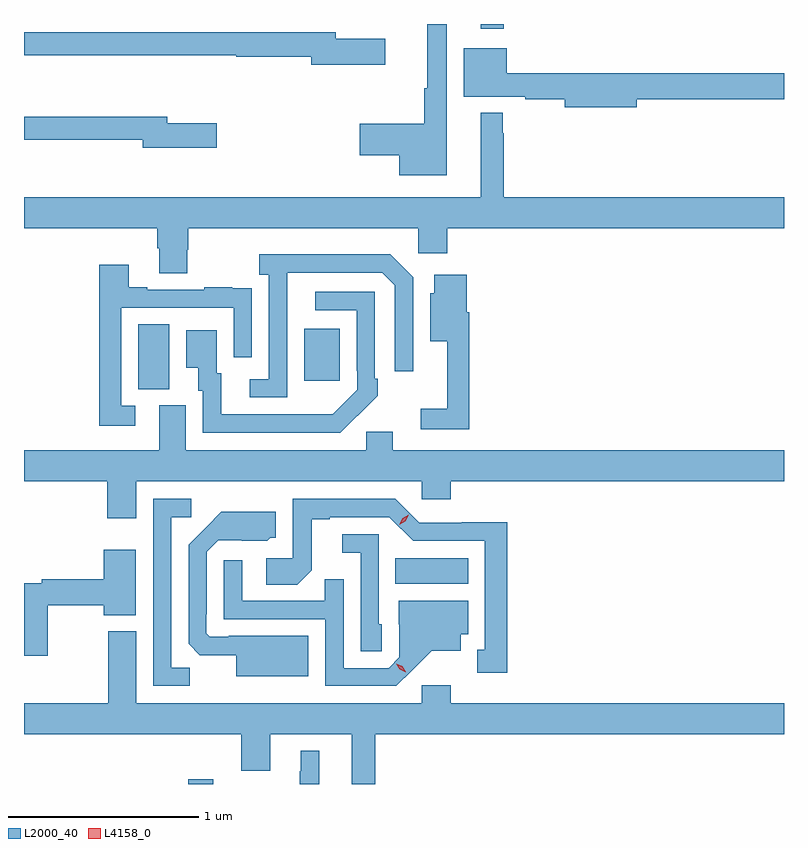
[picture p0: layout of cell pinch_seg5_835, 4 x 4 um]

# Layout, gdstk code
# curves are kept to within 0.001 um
import gdstk
lib = gdstk.Library(unit=1e-6, precision=1e-09)
def R(c, l, rs):  # rectangles x0, y0, x1, y1
    for r in rs: c.add(gdstk.rectangle(r[:2], r[2:], *l))
def P(c, l, *ps):  # polygons
    for p in ps: c.add(gdstk.Polygon(p, *l))
L2000_40 = (2000, 40)
L4158_0 = (4158, 0)

pinch_seg5_835 = lib.new_cell('pinch_seg5_835')
R(pinch_seg5_835, L2000_40, [(782.522,889.799,782.653,889.825), (783.61,890.852,783.994,890.986), (782.258,891.877,782.422,892.22), (783.131,891.921,783.319,892.195), (784.061,893.775,784.183,893.799)])
P(pinch_seg5_835, L2000_40, [(783.883,893.799),(783.779,893.799),(783.779,893.462),(783.764,893.462),(783.764,893.274),(783.423,893.274),(783.423,893.108),(783.632,893.108),(783.632,893.003),(783.883,893.003)],
  [(783.559,893.721),(783.298,893.721),(783.298,893.755),(781.657,893.755),(781.657,893.634),(782.774,893.634),(782.774,893.626),(783.17,893.626),(783.17,893.584),(783.559,893.584)],
  [(784.882,893.404),(785.657,893.404),(785.657,893.54),(784.198,893.54),(784.198,893.671),(783.971,893.671),(783.971,893.417),(784.294,893.417),(784.294,893.404),(784.502,893.404),(784.502,893.362),(784.882,893.362)],
  [(782.517,892.611),(782.522,892.611),(782.522,892.724),(783.732,892.724),(783.732,892.593),(783.884,892.593),(783.884,892.724),(785.657,892.724),(785.657,892.888),(784.183,892.888),(784.183,893.225),(784.176,893.225),(784.176,893.332),(784.061,893.332),(784.061,892.888),(781.657,892.888),(781.657,892.724),(782.357,892.724),(782.357,892.618),(782.369,892.618),(782.369,892.486),(782.517,892.486)],
  [(782.671,893.277),(782.41,893.277),(782.41,893.311),(781.657,893.311),(781.657,893.19),(782.282,893.19),(782.282,893.147),(782.671,893.147)],
  [(783.042,892.291),(783.043,892.491),(783.543,892.491),(783.609,892.425),(783.609,891.972),(783.705,891.972),(783.705,892.467),(783.584,892.588),(782.895,892.588),(782.895,892.478),(782.946,892.478),(782.946,891.93),(782.844,891.93),(782.844,891.834),(783.042,891.834)],
  [(782.242,891.789),(782.169,891.789),(782.169,892.305),(782.76,892.305),(782.76,892.044),(782.856,892.044),(782.856,892.298),(782.855,892.298),(782.855,892.407),(782.753,892.407),(782.753,892.414),(782.605,892.414),(782.605,892.401),(782.305,892.401),(782.305,892.414),(782.209,892.414),(782.209,892.531),(782.053,892.531),(782.053,891.684),(782.242,891.684)],
  [(784.001,892.283),(783.986,892.283),(783.986,892.48),(783.815,892.48),(783.815,892.383),(783.794,892.383),(783.794,892.13),(783.884,892.13),(783.884,891.775),(783.744,891.775),(783.744,891.666),(784.001,891.666)],
  [(783.413,891.739),(783.414,891.738),(783.519,891.843),(783.519,891.931),(783.504,891.931),(783.504,892.389),(783.189,892.389),(783.189,892.293),(783.408,892.293),(783.408,891.973),(783.411,891.973),(783.411,891.873),(783.283,891.745),(782.695,891.744),(782.695,891.96),(782.671,891.96),(782.671,892.186),(782.51,892.186),(782.51,891.989),(782.573,891.989),(782.573,891.87),(782.598,891.87),(782.598,891.648),(783.322,891.648)],
  [(782.248,891.392),(783.75,891.392),(783.75,891.299),(783.902,891.299),(783.902,891.392),(785.657,891.392),(785.657,891.556),(783.598,891.556),(783.598,891.654),(783.459,891.654),(783.459,891.556),(782.509,891.556),(782.509,891.792),(782.369,891.792),(782.369,891.556),(781.657,891.556),(781.657,891.392),(782.096,891.392),(782.096,891.198),(782.248,891.198)],
  [(784.201,891.176),(783.96,891.176),(783.96,891.174),(783.738,891.174),(783.612,891.3),(783.072,891.3),(783.072,890.988),(782.931,890.988),(782.931,890.848),(783.095,890.848),(783.171,890.924),(783.171,891.192),(783.265,891.192),(783.265,891.204),(783.579,891.204),(783.705,891.078),(784.082,891.078),(784.082,890.505),(784.043,890.505),(784.043,890.385),(784.201,890.385)],
  [(782.529,890.411),(782.433,890.411),(782.433,891.204),(782.536,891.204),(782.536,891.3),(782.337,891.3),(782.337,890.316),(782.529,890.316)],
  [(783.154,890.578),(782.734,890.578),(782.734,890.574),(782.634,890.574),(782.616,890.592),(782.616,890.692),(782.619,890.692),(782.619,891.021),(782.679,891.081),(782.936,891.08),(782.952,891.096),(782.983,891.096),(782.983,891.232),(782.695,891.232),(782.523,891.058),(782.523,890.536),(782.582,890.477),(782.774,890.477),(782.774,890.366),(783.154,890.366)],
  [(783.54,890.64),(783.525,890.64),(783.525,891.114),(783.333,891.114),(783.333,891.017),(783.429,891.017),(783.429,890.497),(783.54,890.497)],
  [(781.782,890.74),(782.078,890.74),(782.078,890.687),(782.245,890.687),(782.245,891.031),(782.078,891.031),(782.078,890.876),(781.75,890.876),(781.75,890.856),(781.657,890.856),(781.657,890.475),(781.782,890.475)],
  [(783.7,890.399),(783.803,890.501),(783.955,890.501),(783.955,890.588),(783.994,890.588),(783.994,890.764),(783.629,890.764),(783.629,890.64),(783.633,890.64),(783.633,890.466),(783.576,890.409),(783.339,890.409),(783.339,890.876),(783.241,890.876),(783.241,890.763),(782.805,890.763),(782.805,890.977),(782.709,890.977),(782.709,890.667),(783.243,890.667),(783.243,890.316),(783.616,890.316)],
  [(783.506,890.06),(785.657,890.06),(785.657,890.224),(783.902,890.224),(783.902,890.32),(783.75,890.32),(783.75,890.224),(782.248,890.224),(782.248,890.602),(782.101,890.602),(782.101,890.224),(781.657,890.224),(781.657,890.06),(782.801,890.06),(782.801,889.868),(782.953,889.868),(782.953,890.06),(783.383,890.06),(783.383,889.799),(783.506,889.799)],
  [(783.211,889.975),(783.113,889.975),(783.113,889.865),(783.109,889.865),(783.109,889.799),(783.211,889.799)])
P(pinch_seg5_835, L4158_0, [(783.633,891.164),(783.633,891.164),(783.65,891.197),(783.681,891.216),(783.681,891.216),(783.681,891.216),(783.664,891.183),(783.633,891.164)],
  [(783.665,890.388),(783.634,890.404),(783.616,890.433),(783.616,890.433),(783.617,890.433),(783.648,890.418),(783.665,890.389),(783.665,890.388)])

lib.write_gds('pinch_seg5_835.gds')
